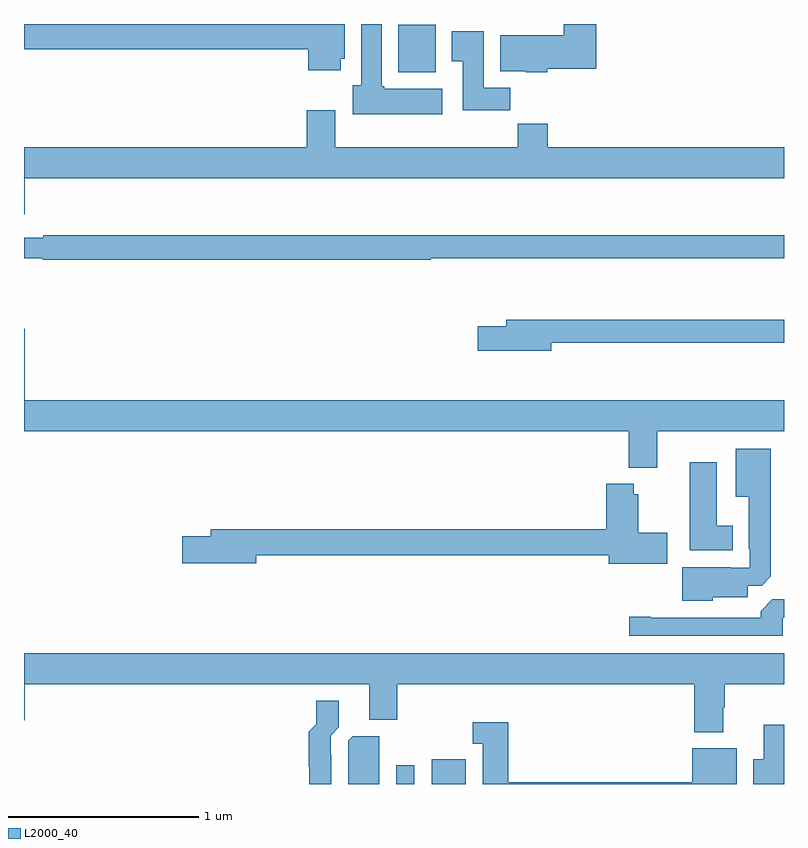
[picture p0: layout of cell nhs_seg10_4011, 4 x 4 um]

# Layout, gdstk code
import gdstk
lib = gdstk.Library(unit=1e-6, precision=1e-09)
def R(c, l, rs):  # rectangles x0, y0, x1, y1
    for r in rs: c.add(gdstk.rectangle(r[:2], r[2:], *l))
def P(c, l, *ps):  # polygons
    for p in ps: c.add(gdstk.Polygon(p, *l))
L2000_40 = (2000, 40)

nhs_seg10_4011 = lib.new_cell('nhs_seg10_4011')
R(nhs_seg10_4011, L2000_40, [(334.959,1258.5,335.055,1258.6), (335.147,1258.5,335.326,1258.63), (334.971,1262.246,335.167,1262.496)])
P(nhs_seg10_4011, L2000_40, [(335.2,1262.158),(334.896,1262.158),(334.896,1262.172),(334.882,1262.172),(334.882,1262.5),(334.775,1262.5),(334.775,1262.178),(334.73,1262.178),(334.73,1262.024),(335.2,1262.024)],
  [(335.754,1262.264),(336.011,1262.264),(336.011,1262.5),(335.84,1262.5),(335.84,1262.44),(335.507,1262.44),(335.507,1262.252),(335.64,1262.252),(335.64,1262.246),(335.754,1262.246)],
  [(334.666,1262.316),(334.687,1262.316),(334.687,1262.5),(333,1262.5),(333,1262.368),(334.496,1262.368),(334.496,1262.256),(334.666,1262.256)],
  [(335.558,1262.164),(335.419,1262.164),(335.419,1262.461),(335.252,1262.461),(335.252,1262.305),(335.309,1262.305),(335.309,1262.046),(335.558,1262.046)],
  [(333.004,1261.688),(337,1261.688),(337,1261.852),(335.756,1261.852),(335.756,1261.976),(335.599,1261.976),(335.599,1261.852),(334.639,1261.852),(334.639,1262.047),(334.487,1262.047),(334.487,1261.852),(333,1261.852),(333,1261.5),(333.004,1261.5)],
  [(335.142,1261.266),(337,1261.266),(337,1261.387),(333.1,1261.387),(333.1,1261.374),(333,1261.374),(333,1261.266),(333.098,1261.266),(333.098,1261.258),(335.142,1261.258)],
  [(335.776,1260.822),(337,1260.822),(337,1260.943),(335.537,1260.943),(335.537,1260.909),(335.388,1260.909),(335.388,1260.779),(335.776,1260.779)],
  [(336.334,1260.356),(337,1260.356),(337,1260.52),(333.004,1260.52),(333.004,1260.895),(333,1260.895),(333,1260.356),(336.182,1260.356),(336.182,1260.164),(336.334,1260.164)],
  [(336.624,1259.483),(336.808,1259.483),(336.808,1259.544),(336.882,1259.544),(336.931,1259.593),(336.931,1260.265),(336.746,1260.265),(336.746,1260.011),(336.815,1260.011),(336.815,1259.737),(336.819,1259.737),(336.819,1259.637),(336.719,1259.637),(336.719,1259.641),(336.464,1259.641),(336.464,1259.465),(336.624,1259.465)],
  [(336.73,1259.86),(336.646,1259.86),(336.646,1260.193),(336.503,1260.193),(336.503,1259.729),(336.73,1259.729)],
  [(336.385,1259.823),(336.232,1259.823),(336.232,1260.025),(336.21,1260.025),(336.21,1260.079),(336.065,1260.079),(336.065,1259.84),(333.983,1259.84),(333.983,1259.804),(333.834,1259.804),(333.834,1259.662),(334.222,1259.662),(334.222,1259.704),(336.077,1259.704),(336.077,1259.66),(336.385,1259.66)],
  [(336.993,1259.376),(337,1259.376),(337,1259.472),(336.939,1259.472),(336.878,1259.41),(336.878,1259.376),(336.298,1259.376),(336.298,1259.381),(336.186,1259.381),(336.186,1259.28),(336.993,1259.28)],
  [(336.679,1258.904),(336.687,1258.904),(336.687,1259.024),(337,1259.024),(337,1259.188),(333,1259.188),(333,1258.836),(333.004,1258.836),(333.004,1259.024),(334.817,1259.024),(334.817,1258.837),(334.965,1258.837),(334.965,1259.024),(336.527,1259.024),(336.527,1258.772),(336.679,1258.772)],
  [(334.617,1258.655),(334.614,1258.655),(334.614,1258.755),(334.657,1258.798),(334.657,1258.939),(334.537,1258.939),(334.537,1258.815),(334.499,1258.776),(334.499,1258.594),(334.501,1258.594),(334.501,1258.5),(334.617,1258.5)],
  [(336.751,1258.687),(336.518,1258.687),(336.518,1258.508),(335.549,1258.508),(335.549,1258.825),(335.361,1258.825),(335.361,1258.712),(335.414,1258.712),(335.414,1258.5),(336.751,1258.5)],
  [(337,1258.813),(336.893,1258.813),(336.893,1258.63),(336.839,1258.63),(336.839,1258.5),(337,1258.5)],
  [(334.869,1258.537),(334.87,1258.537),(334.87,1258.752),(334.731,1258.752),(334.707,1258.728),(334.707,1258.5),(334.869,1258.5)])

lib.write_gds('nhs_seg10_4011.gds')
